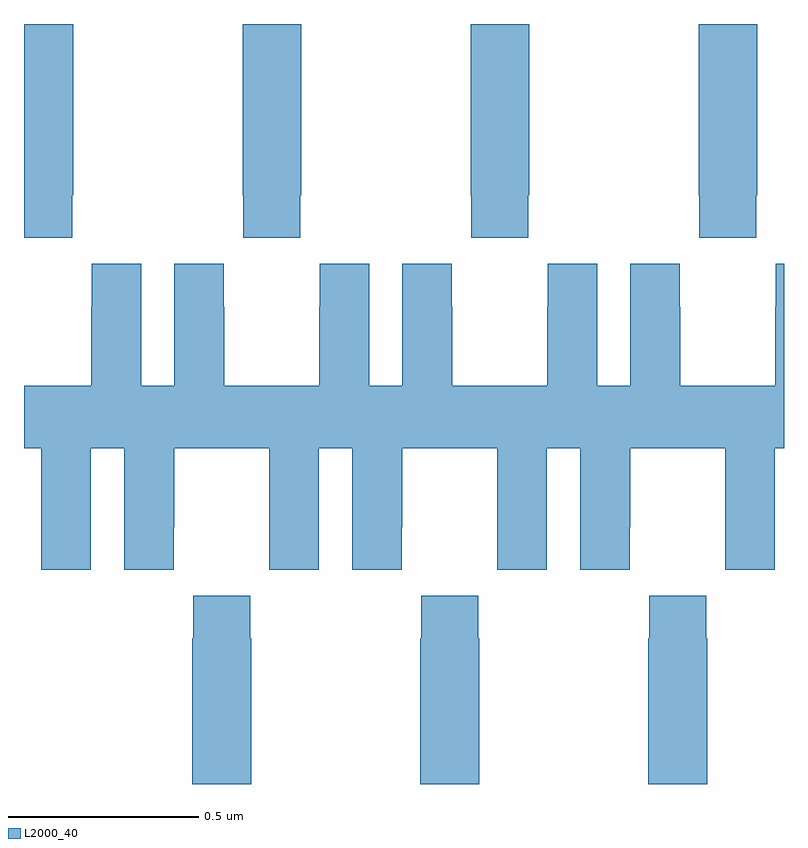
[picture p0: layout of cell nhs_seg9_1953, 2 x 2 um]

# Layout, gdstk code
import gdstk
lib = gdstk.Library(unit=1e-6, precision=1e-09)
def P(c, l, *ps):  # polygons
    for p in ps: c.add(gdstk.Polygon(p, *l))
L2000_40 = (2000, 40)

nhs_seg9_1953 = lib.new_cell('nhs_seg9_1953')
P(nhs_seg9_1953, L2000_40, [(135.927,1233.049),(135.93,1233.049),(135.93,1233.5),(135.775,1233.5),(135.775,1233.049),(135.777,1233.049),(135.777,1232.937),(135.927,1232.937)],
  [(135.175,1233.049),(135.177,1233.049),(135.177,1232.937),(135.327,1232.937),(135.327,1233.049),(135.33,1233.049),(135.33,1233.5),(135.175,1233.5)],
  [(134.127,1233.049),(134.13,1233.049),(134.13,1233.5),(134,1233.5),(134,1232.937),(134.127,1232.937)],
  [(134.727,1233.049),(134.73,1233.049),(134.73,1233.5),(134.575,1233.5),(134.575,1233.049),(134.577,1233.049),(134.577,1232.937),(134.727,1232.937)],
  [(134,1232.384),(134.045,1232.384),(134.045,1232.176),(134.046,1232.176),(134.046,1232.064),(134.176,1232.064),(134.176,1232.384),(134.264,1232.384),(134.264,1232.064),(134.394,1232.064),(134.394,1232.176),(134.395,1232.176),(134.395,1232.384),(134.645,1232.384),(134.645,1232.176),(134.646,1232.176),(134.646,1232.064),(134.776,1232.064),(134.776,1232.384),(134.864,1232.384),(134.864,1232.064),(134.994,1232.064),(134.994,1232.176),(134.995,1232.176),(134.995,1232.384),(135.245,1232.384),(135.245,1232.176),(135.246,1232.176),(135.246,1232.064),(135.376,1232.064),(135.376,1232.384),(135.464,1232.384),(135.464,1232.064),(135.594,1232.064),(135.594,1232.176),(135.595,1232.176),(135.595,1232.384),(135.845,1232.384),(135.845,1232.176),(135.846,1232.176),(135.846,1232.064),(135.976,1232.064),(135.976,1232.384),(136,1232.384),(136,1232.869),(135.978,1232.869),(135.978,1232.756),(135.977,1232.756),(135.977,1232.548),(135.727,1232.548),(135.727,1232.756),(135.726,1232.756),(135.726,1232.869),(135.596,1232.869),(135.596,1232.548),(135.508,1232.548),(135.508,1232.869),(135.378,1232.869),(135.378,1232.756),(135.377,1232.756),(135.377,1232.548),(135.127,1232.548),(135.127,1232.756),(135.126,1232.756),(135.126,1232.869),(134.996,1232.869),(134.996,1232.548),(134.908,1232.548),(134.908,1232.869),(134.778,1232.869),(134.778,1232.756),(134.777,1232.756),(134.777,1232.548),(134.527,1232.548),(134.527,1232.756),(134.526,1232.756),(134.526,1232.869),(134.396,1232.869),(134.396,1232.548),(134.308,1232.548),(134.308,1232.869),(134.178,1232.869),(134.178,1232.756),(134.177,1232.756),(134.177,1232.548),(134,1232.548)],
  [(135.045,1231.883),(135.043,1231.883),(135.043,1231.5),(135.198,1231.5),(135.198,1231.883),(135.195,1231.883),(135.195,1231.996),(135.045,1231.996)],
  [(134.598,1231.883),(134.595,1231.883),(134.595,1231.996),(134.445,1231.996),(134.445,1231.883),(134.443,1231.883),(134.443,1231.5),(134.598,1231.5)],
  [(135.798,1231.883),(135.795,1231.883),(135.795,1231.996),(135.645,1231.996),(135.645,1231.883),(135.643,1231.883),(135.643,1231.5),(135.798,1231.5)])

lib.write_gds('nhs_seg9_1953.gds')
